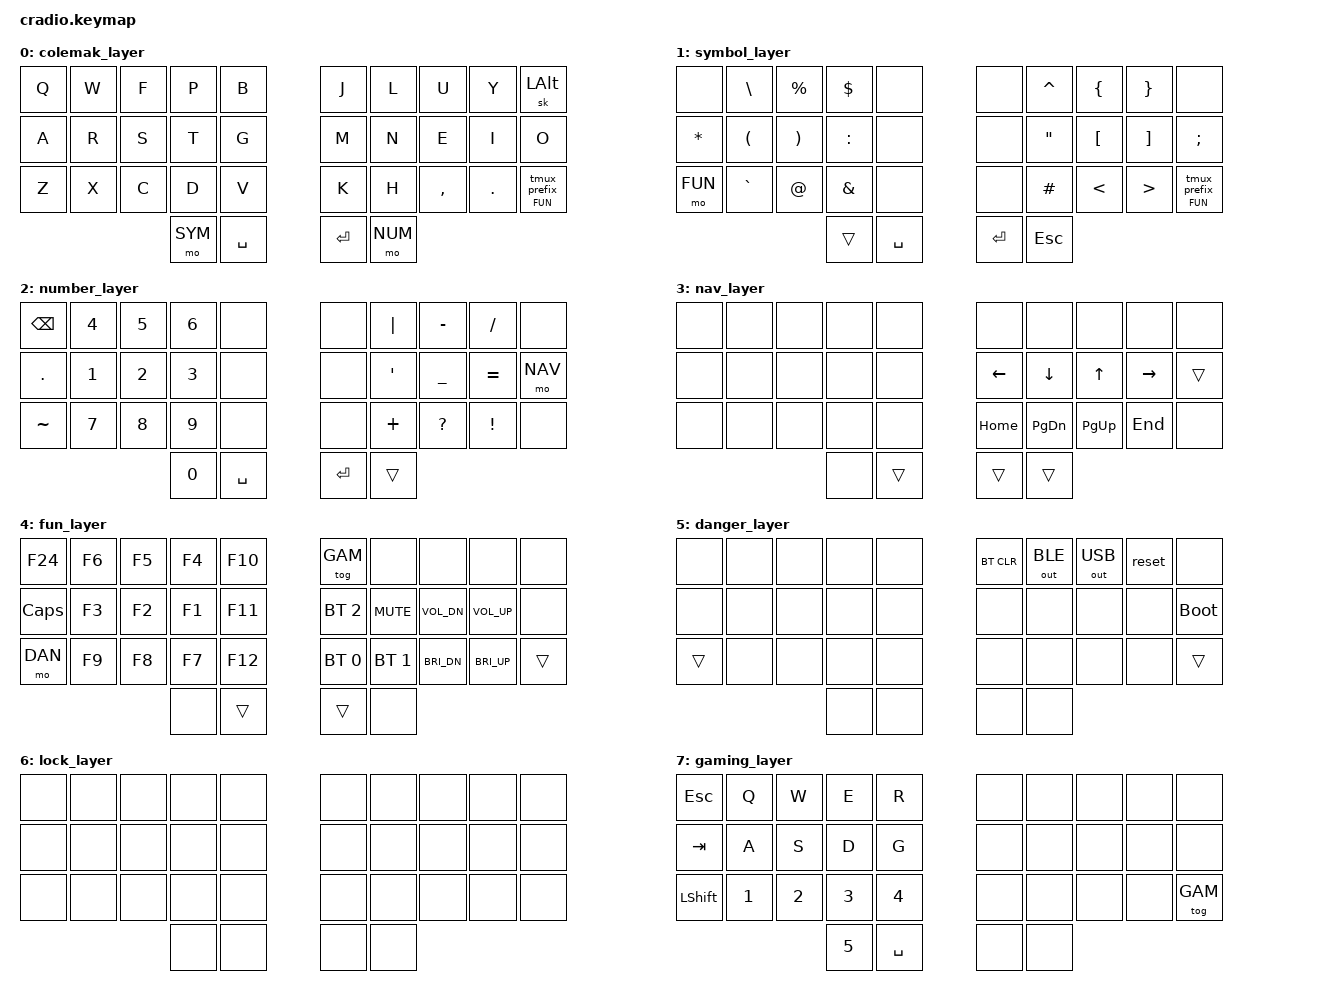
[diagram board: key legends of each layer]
/*
 * Copyright (c) 2020 The ZMK Contributors
 *
 * SPDX-License-Identifier: MIT
 */


#include <behaviors.dtsi>
#include <dt-bindings/zmk/keys.h>
#include <dt-bindings/zmk/bt.h>
#include <dt-bindings/zmk/outputs.h>
 
#define CMK 0
#define SYM 1
#define NUM 2
#define NAV 3
#define FUN 4
#define DAN 5
#define LCK 6
#define GAM 7

&caps_word {
   continue-list = <UNDERSCORE MINUS BACKSPACE>;
};


/ {

    combos {
        #include "combos.dtsi"    
    };

    behaviors {
        skq: sticky_key_quick_release {
            compatible = "zmk,behavior-sticky-key";
            label = "STICKY_KEY_QUICK_RELEASE";
            #binding-cells = <1>;
            bindings = <&kp>;
            release-after-ms = <1000>;
            quick-release;
        };
        fun_tmux: fun_tmux {
            compatible = "zmk,behavior-hold-tap";
            #binding-cells = <2>;
            flavor = "balanced";
            tapping-term-ms = <200>;
            bindings = <&mo>, <&tmux_prefix>;
        };
    };

    macros {
        tmux_prefix: tmux_prefix {
            compatible = "zmk,behavior-macro";
            #binding-cells = <0>;
            bindings = <&macro_press &kp LCTRL>, <&macro_tap &kp A>, <&macro_release &kp LCTRL>;
        };
        swe1: swe1 {
            compatible = "zmk,behavior-macro";
            #binding-cells = <0>;
            bindings = <&macro_press &kp RALT>, <&macro_tap &kp A>, <&macro_release &kp RALT>;
        };
        swe2: swe2 {
            compatible = "zmk,behavior-macro";
            #binding-cells = <0>;
            bindings = <&macro_press &kp RALT>, <&macro_tap &kp W>, <&macro_release &kp RALT>;
        };
        swe3: swe3 {
            compatible = "zmk,behavior-macro";
            #binding-cells = <0>;
            bindings = <&macro_press &kp RALT>, <&macro_tap &kp O>, <&macro_release &kp RALT>;
        };
    };
};

/*           34 Keys
╭──────────────╮ ╭──────────────╮
│ 0  1  2  3  4│ │ 5  6  7  8  9│
│10 11 12 13 14│ │15 16 17 18 19│
│20 21 22 23 24│ │25 26 27 28 29│
╰────────╮30 31│ │32 33╭────────╯
         ╰─────╯ ╰─────╯         */


/ {
        keymap {
                compatible = "zmk,keymap";
                colemak_layer {
// -----------------------------------------------------------------
// |  Q  |  W  |  F  |  P  |  B  | |  J  |  L  |  U  |  Y  | ALT |
// |  A  |  R  |  S  |  T  |  G  | |  M  |  N  |  E  |  I  |  O  |
// |  Z  |  X  |  C  |  D  |  V  | |  K  |  H  |  ,  |  .  |-FUN-|
//                   |-SYM-| SPC | | RET |-NUM-|
                        bindings = <
   &kp Q &kp W &kp F &kp P &kp B &kp J &kp L   &kp U     &kp Y   &sk LALT
   &kp A &kp R &kp S &kp T &kp G &kp M &kp N   &kp E     &kp I   &kp O
   &kp Z &kp X &kp C &kp D &kp V &kp K &kp H   &kp COMMA &kp DOT &fun_tmux FUN 0
                   &mo SYM &kp SPACE &kp RET &mo NUM
                        >;
                };
                symbol_layer {
// -----------------------------------------------------------------
// |     |  \  |  %  |  $  |     | |     |  ^  |  {  |  }  |     |
// |  *  |  (  |  )  |  :  |     | |     |  "  |  [  |  ]  |  ;  |
// |     |  `  |  @  |  &  |     | |     |  #  |  <  |  >  |-FUN-|
//                   |_SYM_| SPC | | RET | ESC |
                        bindings = <
   &none  &kp BSLH &kp PRCNT &kp DLLR  &none &none &kp CARET &kp LBRC &kp RBRC &none
   &kp STAR &kp LPAR &kp RPAR  &kp COLON &none &none &kp DQT   &kp LBKT &kp RBKT &kp SEMI
   &mo FUN  &kp GRAVE   &kp AT  &kp AMPS  &none &none &kp HASH &kp LT   &kp GT   &fun_tmux FUN 0
                             &trans &kp SPACE &kp RET &kp ESC
                        >;
                };
                number_layer {
// -----------------------------------------------------------------
// |     |  4  |  5  |  6  |     | |     |  |  |  -  |  /  |     |
// |  .  |  1  |  2  |  3  |     | |     |  '  |  _  |  =  |-NAV-|
// |  ~  |  7  |  8  |  9  |     | |     |  +  |  ?  |  !  |     |
//                   |  0  | SPC | | RET |_NUM_|
                        bindings = <
   &kp BSPC  &kp N4 &kp N5 &kp N6 &none &none &kp PIPE &kp MINUS &kp FSLH  &none
   &kp DOT &kp N1 &kp N2 &kp N3 &none &none &kp SQT  &kp UNDER &kp EQUAL &mo NAV  
   &kp TILDE  &kp N7 &kp N8 &kp N9 &none &none &kp PLUS &kp QMARK  &kp EXCL    &none
                 &kp N0 &kp SPACE &kp RET  &trans
                        >;
                };
                nav_layer {
// -----------------------------------------------------------------
// |     |     |     |     |     | |     |     |     |     |     |
// |     |     |     |     |     | | LFT | DWN | U P |RIGHT|_NAV_|
// |     |     |     |     |     | | HOM |PG_DN|PG_UP| END |     |
//                   |     | SPC | | RET |_NUM_|
                        bindings = <
   &none &none &none &none &none &none    &none     &none     &none     &none 
   &none &none &none &none &none &kp LEFT &kp DOWN  &kp UP    &kp RIGHT &trans  
   &none &none &none &none &none &kp HOME &kp PG_DN &kp PG_UP &kp END   &none 
                         &none &trans &trans &trans
                        >;
                };
                fun_layer {
// -----------------------------------------------------------------
// | F24 | F 6 | F 5 | F 4 | F10 | | <!> | <!> | <!> | <!> |     |
// |CAPSL| F 3 | F 2 | F 1 | F11 | | BT2 |VMUTE|VOLDN|VOLUP| <!> |
// |-!!!-| F 9 | F 8 | F 7 | F12 | | BT0 | BT1 |BRIDN|BRIUP|_FUN_|
//                   |     | SPC | | RET |     |
                        bindings = <
   &kp F24 &kp F6 &kp F5 &kp F4 &kp F10 &tog GAM &none &none &none &none
   &kp CAPS &kp F3   &kp F2 &kp F1 &kp F11 &bt BT_SEL 2 &kp K_MUTE &kp C_VOL_DN &kp C_VOL_UP &none
   &mo DAN &kp F9 &kp F8 &kp F7  &kp F12 &bt BT_SEL 0  &bt BT_SEL 1 &kp C_BRI_DN &kp C_BRI_UP &trans
                         &none &trans &trans &none 
                        >;
                };
                danger_layer {
// -----------------------------------------------------------------
// |     |     |     |     |     | |BTCLR| BLE | USB |RESET|     |
// |     |     |     |     |     | |     |     |     |     |BOOTL|
// |_!!!_|     |     |     |     | |     |     |     |     |_FUN_|
//                   |     |     | |     |     |
                    // impactful buttons
                    // Bluetooth clear, reset, chaning BLE/USB preference, bootloader
                    bindings = <
&none &none &none &none &none &bt BT_CLR  &out OUT_BLE &out OUT_USB &reset &none
&none &none &none &none &none &none &none &none &none &bootloader
&trans &none &none &none &none &none &none &none &none &trans
&none &none &none &none
                    >;
                };
                lock_layer {
                    // only way out is the lock combo
                    // other combos are disabled too
                    bindings = <
&none &none &none &none &none &none &none &none &none &none 
&none &none &none &none &none &none &none &none &none &none 
&none &none &none &none &none &none &none &none &none &none 
&none &none &none &none 
                    >;
                };
                gaming_layer {
// -----------------------------------------------------------------
// | ESC |  Q  |  W  |  E  |  R  | |     |     |     |     |     |
// | TAB |  A  |  S  |  D  |  G  | |     |     |     |     |     |
// |SHIFT|  1  |  2  |  3  |  4  | |     |     |     |     | EXIT|
//                   |  5  | SPC | |     |     |
                    // WASD gaming layer for 3D software
                    // Exit: tap key 29 (bottom-right)
                    bindings = <
&kp ESC   &kp Q &kp W &kp E &kp R &none &none &none &none &none
&kp TAB   &kp A &kp S &kp D &kp G &none &none &none &none &none
&kp LSHFT &kp N1 &kp N2 &kp N3 &kp N4 &none &none &none &none &tog GAM
                    &kp N5 &kp SPACE &none &none
                    >;
                };
        };
};
